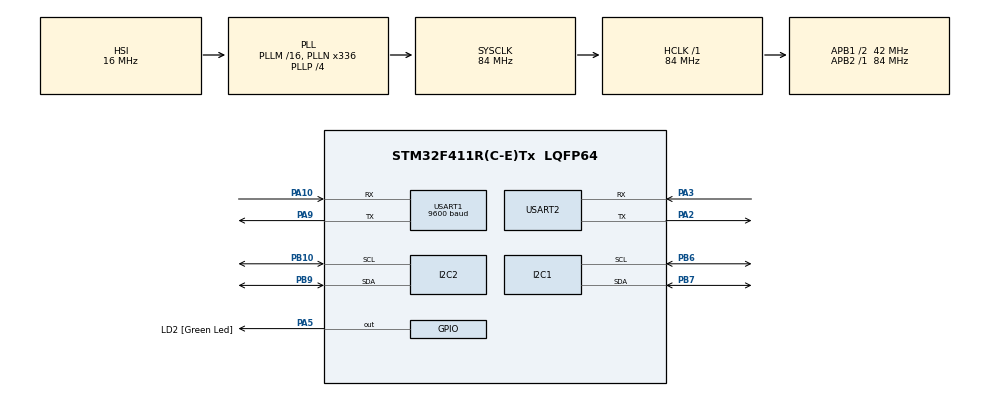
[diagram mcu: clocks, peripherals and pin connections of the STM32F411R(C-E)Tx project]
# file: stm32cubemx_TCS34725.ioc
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Mcu.Family=STM32F4
Mcu.Name=STM32F411R(C-E)Tx
Mcu.Package=LQFP64
NVIC.PriorityGroup=NVIC_PRIORITYGROUP_0
NVIC.USART2_IRQn=true\:0\:0\:false\:false\:true\:true\:true\:true
PA10.Mode=Asynchronous
PA10.Signal=USART1_RX
PA13.GPIO_Label=TMS
PA13.Mode=Serial_Wire
PA13.Signal=SYS_JTMS-SWDIO
PA14.GPIO_Label=TCK
PA14.Mode=Serial_Wire
PA14.Signal=SYS_JTCK-SWCLK
PA2.Mode=Asynchronous
PA2.Signal=USART2_TX
PA3.Mode=Asynchronous
PA3.Signal=USART2_RX
PA5.GPIO_Label=LD2 [Green Led]
PA5.Signal=GPIO_Output
PA9.Mode=Asynchronous
PA9.Signal=USART1_TX
PB10.Mode=I2C
PB10.Signal=I2C2_SCL
PB3.GPIO_Label=SWO
PB3.Signal=SYS_JTDO-SWO
PB6.Mode=I2C
PB6.Signal=I2C1_SCL
PB7.Mode=I2C
PB7.Signal=I2C1_SDA
PB9.Mode=I2C
PB9.Signal=I2C2_SDA
ProjectManager.HeapSize=0x200
ProjectManager.StackSize=0x400
ProjectManager.TargetToolchain=MDK-ARM V5.32
RCC.48MHZClocksFreq_Value=84000000
RCC.AHBFreq_Value=84000000
RCC.APB1CLKDivider=RCC_HCLK_DIV2
RCC.APB1Freq_Value=42000000
RCC.APB1TimFreq_Value=84000000
RCC.APB2Freq_Value=84000000
RCC.APB2TimFreq_Value=84000000
RCC.CortexFreq_Value=84000000
RCC.FLatency-AdvancedSettings=FLASH_LATENCY_2
RCC.HCLKFreq_Value=84000000
RCC.HSE_VALUE=8000000
RCC.HSI_VALUE=16000000
RCC.LSE_VALUE=32768
RCC.PLLN=336
RCC.PLLP=RCC_PLLP_DIV4
RCC.SYSCLKFreq_VALUE=84000000
RCC.SYSCLKSource=RCC_SYSCLKSOURCE_PLLCLK
RCC.VCOOutputFreq_Value=336000000
USART1.BaudRate=9600
USART1.VirtualMode=VM_ASYNC
USART2.VirtualMode=VM_ASYNC
board=NUCLEO-F411RE

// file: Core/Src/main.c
/* USER CODE BEGIN Header */
/**
  ******************************************************************************
  * @file           : main.c
  * @brief          : Main program body
  ******************************************************************************
  * @attention
  *
  * Copyright (c) 2023 STMicroelectronics.
  * All rights reserved.
  *
  * This software is licensed under terms that can be found in the LICENSE file
  * in the root directory of this software component.
  * If no LICENSE file comes with this software, it is provided AS-IS.
  *
  ******************************************************************************
  */
/* USER CODE END Header */
#include "main.h"

/* USER CODE BEGIN Includes */
#include "Vl6180.h"
/* USER CODE END Includes */

I2C_HandleTypeDef hi2c1;
I2C_HandleTypeDef hi2c2;

UART_HandleTypeDef huart1;
UART_HandleTypeDef huart2;

void SystemClock_Config(void);
static void MX_GPIO_Init(void);
static void MX_USART2_UART_Init(void);
static void MX_I2C1_Init(void);
static void MX_USART1_UART_Init(void);
static void MX_I2C2_Init(void);
/* USER CODE BEGIN PFP */
static void TCS34725_ENABLE(void);
static uint16_t TCS34725_Get_RawData(I2C_HandleTypeDef *hi2c,uint16_t MemAddress);
static void Send_RAWData_To_UART(char RGBC, uint16_t RawData);

/* USER CODE END PFP */

int main(void)
{

  /* USER CODE BEGIN 1 */
  uint8_t buffer[10]={0};
	uint16_t Rawdata = 0;
	uint8_t data = '0';
	uint8_t buffer2;

  /* USER CODE END 1 */

  /* MCU Configuration--------------------------------------------------------*/

  /* Reset of all peripherals, Initializes the Flash interface and the Systick. */
  HAL_Init();

  /* Configure the system clock */
  SystemClock_Config();

  /* Initialize all configured peripherals */
  MX_GPIO_Init();
  MX_USART2_UART_Init();
  MX_I2C1_Init();
  MX_USART1_UART_Init();
  MX_I2C2_Init();
	TCS34725_ENABLE();
//	if(VL6180X_GetID()==VL6180X_DEFAULT_ID)
//		VL6180X_Init();

  /* Infinite loop */
  /* USER CODE BEGIN WHILE */
	  while (1)
  {
		HAL_Delay(1000);
		HAL_UART_Transmit(&huart2, &data, 1, 1000);  // 发送单个字节 'A'，超时设置为 1000 毫秒

		//��ȡRGBC valid״̬���������Ƿ����
		HAL_I2C_Mem_Read(&hi2c1,I2C_TCS34725_ADDR<<1|I2C_READ,TCS34725_STATUS_ADDR|TCS34725_CMD_MASK,1,buffer,1,3000);
		if(buffer[0]&TCS34725__STATUS_AVALID)
		{
			//RGBC Valid
			//Get Clear RAW data
			Rawdata =  TCS34725_Get_RawData(&hi2c1,TCS34725_CDATA_ADDR|TCS34725_CMD_MASK);
			//Send Clear RAW data to UART
			Send_RAWData_To_UART('C',Rawdata);
			//Get RED RAW data
			Rawdata =  TCS34725_Get_RawData(&hi2c1,TCS34725_RDATA_ADDR|TCS34725_CMD_MASK);
			//Send RED RAW data to UART
			Send_RAWData_To_UART('R',Rawdata);
			//Get Green RAW data
			Rawdata =  TCS34725_Get_RawData(&hi2c1,TCS34725_GDATA_ADDR|TCS34725_CMD_MASK);
			//Send Green RAW data to UART
			Send_RAWData_To_UART('G',Rawdata);
			//Get Blue RAW data
			Rawdata =  TCS34725_Get_RawData(&hi2c1,TCS34725_BDATA_ADDR|TCS34725_CMD_MASK);
			//Send Blue RAW data to UART
			Send_RAWData_To_UART('B',Rawdata);
		}
//		buffer2 = VL6180X_GetRange();
//		HAL_Delay(3000);

    /* USER CODE END WHILE */

  }
}

void SystemClock_Config(void)
{
  RCC_OscInitTypeDef RCC_OscInitStruct = {0};
  RCC_ClkInitTypeDef RCC_ClkInitStruct = {0};

  /** Configure the main internal regulator output voltage
  */
  __HAL_RCC_PWR_CLK_ENABLE();
  __HAL_PWR_VOLTAGESCALING_CONFIG(PWR_REGULATOR_VOLTAGE_SCALE1);

  /** Initializes the RCC Oscillators according to the specified parameters
  * in the RCC_OscInitTypeDef structure.
  */
  RCC_OscInitStruct.OscillatorType = RCC_OSCILLATORTYPE_HSI;
  RCC_OscInitStruct.HSIState = RCC_HSI_ON;
  RCC_OscInitStruct.HSICalibrationValue = RCC_HSICALIBRATION_DEFAULT;
  RCC_OscInitStruct.PLL.PLLState = RCC_PLL_ON;
  RCC_OscInitStruct.PLL.PLLSource = RCC_PLLSOURCE_HSI;
  RCC_OscInitStruct.PLL.PLLM = 16;
  RCC_OscInitStruct.PLL.PLLN = 336;
  RCC_OscInitStruct.PLL.PLLP = RCC_PLLP_DIV4;
  RCC_OscInitStruct.PLL.PLLQ = 4;
  if (HAL_RCC_OscConfig(&RCC_OscInitStruct) != HAL_OK)
  {
    Error_Handler();
  }

  /** Initializes the CPU, AHB and APB buses clocks
  */
  RCC_ClkInitStruct.ClockType = RCC_CLOCKTYPE_HCLK|RCC_CLOCKTYPE_SYSCLK
                              |RCC_CLOCKTYPE_PCLK1|RCC_CLOCKTYPE_PCLK2;
  RCC_ClkInitStruct.SYSCLKSource = RCC_SYSCLKSOURCE_PLLCLK;
  RCC_ClkInitStruct.AHBCLKDivider = RCC_SYSCLK_DIV1;
  RCC_ClkInitStruct.APB1CLKDivider = RCC_HCLK_DIV2;
  RCC_ClkInitStruct.APB2CLKDivider = RCC_HCLK_DIV1;

  if (HAL_RCC_ClockConfig(&RCC_ClkInitStruct, FLASH_LATENCY_2) != HAL_OK)
  {
    Error_Handler();
  }
}

static void MX_I2C1_Init(void)
{

  hi2c1.Instance = I2C1;
  hi2c1.Init.ClockSpeed = 100000;
  hi2c1.Init.DutyCycle = I2C_DUTYCYCLE_2;
  hi2c1.Init.OwnAddress1 = 0;
  hi2c1.Init.AddressingMode = I2C_ADDRESSINGMODE_7BIT;
  hi2c1.Init.DualAddressMode = I2C_DUALADDRESS_DISABLE;
  hi2c1.Init.OwnAddress2 = 0;
  hi2c1.Init.GeneralCallMode = I2C_GENERALCALL_DISABLE;
  hi2c1.Init.NoStretchMode = I2C_NOSTRETCH_DISABLE;
  if (HAL_I2C_Init(&hi2c1) != HAL_OK)
  {
    Error_Handler();
  }

}

static void MX_I2C2_Init(void)
{

  hi2c2.Instance = I2C2;
  hi2c2.Init.ClockSpeed = 100000;
  hi2c2.Init.DutyCycle = I2C_DUTYCYCLE_2;
  hi2c2.Init.OwnAddress1 = 0;
  hi2c2.Init.AddressingMode = I2C_ADDRESSINGMODE_7BIT;
  hi2c2.Init.DualAddressMode = I2C_DUALADDRESS_DISABLE;
  hi2c2.Init.OwnAddress2 = 0;
  hi2c2.Init.GeneralCallMode = I2C_GENERALCALL_DISABLE;
  hi2c2.Init.NoStretchMode = I2C_NOSTRETCH_DISABLE;
  if (HAL_I2C_Init(&hi2c2) != HAL_OK)
  {
    Error_Handler();
  }

}

static void MX_USART1_UART_Init(void)
{

  huart1.Instance = USART1;
  huart1.Init.BaudRate = 9600;
  huart1.Init.WordLength = UART_WORDLENGTH_8B;
  huart1.Init.StopBits = UART_STOPBITS_1;
  huart1.Init.Parity = UART_PARITY_NONE;
  huart1.Init.Mode = UART_MODE_TX_RX;
  huart1.Init.HwFlowCtl = UART_HWCONTROL_NONE;
  huart1.Init.OverSampling = UART_OVERSAMPLING_16;
  if (HAL_UART_Init(&huart1) != HAL_OK)
  {
    Error_Handler();
  }

}

static void MX_USART2_UART_Init(void)
{

  huart2.Instance = USART2;
  huart2.Init.BaudRate = 115200;
  huart2.Init.WordLength = UART_WORDLENGTH_8B;
  huart2.Init.StopBits = UART_STOPBITS_1;
  huart2.Init.Parity = UART_PARITY_NONE;
  huart2.Init.Mode = UART_MODE_TX_RX;
  huart2.Init.HwFlowCtl = UART_HWCONTROL_NONE;
  huart2.Init.OverSampling = UART_OVERSAMPLING_16;
  if (HAL_UART_Init(&huart2) != HAL_OK)
  {
    Error_Handler();
  }

}

static void MX_GPIO_Init(void)
{
  GPIO_InitTypeDef GPIO_InitStruct = {0};

  /* GPIO Ports Clock Enable */
  __HAL_RCC_GPIOA_CLK_ENABLE();
  __HAL_RCC_GPIOB_CLK_ENABLE();

  /*Configure GPIO pin Output Level */
  HAL_GPIO_WritePin(LD2_GPIO_Port, LD2_Pin, GPIO_PIN_RESET);

  /*Configure GPIO pin : LD2_Pin */
  GPIO_InitStruct.Pin = LD2_Pin;
  GPIO_InitStruct.Mode = GPIO_MODE_OUTPUT_PP;
  GPIO_InitStruct.Pull = GPIO_NOPULL;
  GPIO_InitStruct.Speed = GPIO_SPEED_FREQ_LOW;
  HAL_GPIO_Init(LD2_GPIO_Port, &GPIO_InitStruct);

}

/* USER CODE BEGIN 4 */
/**
  * @brief  TCS34725 Enable Function.
  * @retval None
  */
static void TCS34725_ENABLE()
{
	uint8_t buffer=0;
	HAL_I2C_Mem_Read(&hi2c1,  I2C_TCS34725_ADDR<<1|I2C_READ, TCS34725_ID_ADDR|TCS34725_CMD_MASK, 1,&buffer,1,500);//��ȡID
  buffer = TCS34725_ENABLE_PON;//ʹ����ɫ������PON
	HAL_I2C_Mem_Write(&hi2c1,I2C_TCS34725_ADDR<<1,  TCS34725_ENABLE_ADDR|TCS34725_CMD_MASK,1,&buffer,1,300);
  HAL_Delay(5);
  HAL_I2C_Mem_Read(&hi2c1,I2C_TCS34725_ADDR<<1|I2C_READ,TCS34725_ENABLE_ADDR|TCS34725_CMD_MASK,1,&buffer,1,300);//��ȡEnable״̬
  buffer |= 0x2;
  HAL_I2C_Mem_Write(&hi2c1,I2C_TCS34725_ADDR<<1,TCS34725_ENABLE_ADDR|TCS34725_CMD_MASK,1,&buffer,1,300);//ʹ��AEN
}
/**
  * @brief  Get the RAW data of the specified color.
  * @param  hi2c:Pointer to a I2C_HandleTypeDef structure that contains
  *                the configuration information for the specified I2C.
  * @param  MemAddress: Internal memory address
  * @retval the 16 bits RAW data
  */
static uint16_t TCS34725_Get_RawData(I2C_HandleTypeDef *hi2c,uint16_t MemAddress)
{
	uint16_t tempRawValue=0;
	uint8_t buffer[2]={0};
	HAL_I2C_Mem_Read(hi2c,I2C_TCS34725_ADDR<<1|I2C_READ,MemAddress,1,buffer,2,1000);
	tempRawValue = buffer[1]<<8|buffer[0];
	return  tempRawValue;
}

/**
  * @brief  Get the RAW data of the specified color.
  * @param  RGBc: the char that define the RGBC
  * @param  RawData: the 16 bits RAW data
  * @retval None
  */
static void Send_RAWData_To_UART(char RGBC, uint16_t RawData)
{
	char value[9];
	value[0]=RGBC;
	value[1]='-';
	for( int j=6;j>1;j--)
	{
			value[j]= 48+RawData%10;
			RawData/=10;
	}
	value[7]='\r';
	value[8]='\n';
	HAL_UART_Transmit(&huart2,(uint8_t*)value,9,10000);
}

/* USER CODE END 4 */

void Error_Handler(void)
{
  __disable_irq();
  while (1)
  {
  }
}
